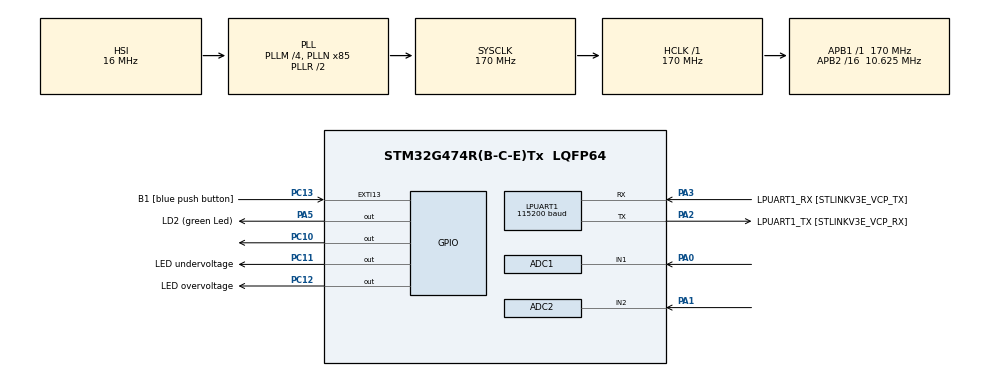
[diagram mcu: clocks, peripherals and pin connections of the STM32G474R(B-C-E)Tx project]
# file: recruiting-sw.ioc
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ADC1.Channel-0\#ChannelRegularConversion=ADC_CHANNEL_1
ADC1.NbrOfConversionFlag=1
ADC1.OffsetNumber-0\#ChannelRegularConversion=ADC_OFFSET_NONE
ADC1.Rank-0\#ChannelRegularConversion=1
ADC1.SamplingTime-0\#ChannelRegularConversion=ADC_SAMPLETIME_2CYCLES_5
ADC1.master=1
ADC2.Channel-1\#ChannelRegularConversion=ADC_CHANNEL_2
ADC2.NbrOfConversionFlag=1
ADC2.OffsetNumber-1\#ChannelRegularConversion=ADC_OFFSET_NONE
ADC2.Rank-1\#ChannelRegularConversion=1
ADC2.SamplingTime-1\#ChannelRegularConversion=ADC_SAMPLETIME_2CYCLES_5
LPUART1.BaudRate=115200
LPUART1.WordLength=UART_WORDLENGTH_8B
Mcu.Family=STM32G4
Mcu.Name=STM32G474R(B-C-E)Tx
Mcu.Package=LQFP64
NVIC.EXTI15_10_IRQn=true\:0\:0\:false\:false\:true\:true\:true\:true
NVIC.PriorityGroup=NVIC_PRIORITYGROUP_4
NVIC.TIM6_DAC_IRQn=true\:0\:0\:false\:false\:true\:true\:true\:true
PA0.Mode=IN1-Single-Ended
PA0.Signal=ADC1_IN1
PA1.Mode=IN2-Single-Ended
PA1.Signal=ADC2_IN2
PA13.GPIO_Label=T_SWDIO
PA13.Mode=Serial_Wire
PA13.Signal=SYS_JTMS-SWDIO
PA14.GPIO_Label=T_SWCLK
PA14.Mode=Serial_Wire
PA14.Signal=SYS_JTCK-SWCLK
PA2.GPIO_Label=LPUART1_TX [STLINKV3E_VCP_RX]
PA2.Mode=Asynchronous
PA2.Signal=LPUART1_TX
PA3.GPIO_Label=LPUART1_RX [STLINKV3E_VCP_TX]
PA3.Mode=Asynchronous
PA3.Signal=LPUART1_RX
PA5.GPIO_Label=LD2 (green Led)
PA5.PinState=GPIO_PIN_RESET
PA5.Signal=GPIO_Output
PB3.GPIO_Label=T_SWO
PB3.Signal=SYS_JTDO-SWO
PC10.Signal=GPIO_Output
PC11.GPIO_Label=LED undervoltage
PC11.Signal=GPIO_Output
PC12.GPIO_Label=LED overvoltage
PC12.Signal=GPIO_Output
PC13.GPIO_Label=B1 [blue push button]
PC13.Signal=GPXTI13
PC14-OSC32_IN.Mode=LSE-External-Oscillator
PC14-OSC32_IN.Signal=RCC_OSC32_IN
PC15-OSC32_OUT.Mode=LSE-External-Oscillator
PC15-OSC32_OUT.Signal=RCC_OSC32_OUT
PF0-OSC_IN.Mode=HSE-External-Oscillator
PF0-OSC_IN.Signal=RCC_OSC_IN
PF1-OSC_OUT.Mode=HSE-External-Oscillator
PF1-OSC_OUT.Signal=RCC_OSC_OUT
ProjectManager.HeapSize=0x200
ProjectManager.StackSize=0x400
ProjectManager.TargetToolchain=Makefile
RCC.ADC12Freq_Value=170000000
RCC.ADC345Freq_Value=170000000
RCC.AHBFreq_Value=170000000
RCC.APB1Freq_Value=170000000
RCC.APB1TimFreq_Value=170000000
RCC.APB2CLKDivider=RCC_HCLK_DIV16
RCC.APB2Freq_Value=10625000
RCC.APB2TimFreq_Value=21250000
RCC.CortexFreq_Value=170000000
RCC.EXTERNAL_CLOCK_VALUE=12288000
RCC.HCLKFreq_Value=170000000
RCC.HSE_VALUE=24000000
RCC.HSI48_VALUE=48000000
RCC.HSI_VALUE=16000000
RCC.PLLM=RCC_PLLM_DIV4
RCC.PLLN=85
RCC.RTCClockSelection=RCC_RTCCLKSOURCE_LSE
RCC.SYSCLKFreq_VALUE=170000000
RCC.SYSCLKSource=RCC_SYSCLKSOURCE_PLLCLK
RCC.USBFreq_Value=170000000
RCC.VCOOutputFreq_Value=340000000
TIM6.PeriodNoDither=8500-1
TIM6.Prescaler=1000-1
VP_SYS_VS_DBSignals.Mode=DisableDeadBatterySignals
VP_TIM6_VS_ClockSourceINT.Mode=Enable_Timer
board=NUCLEO-G474RE

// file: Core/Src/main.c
/* USER CODE BEGIN Header */
/**
  ******************************************************************************
  * @file           : main.c
  * @brief          : Main program body
  ******************************************************************************
  * @attention
  *
  * Copyright (c) 2022 STMicroelectronics.
  * All rights reserved.
  *
  * This software is licensed under terms that can be found in the LICENSE file
  * in the root directory of this software component.
  * If no LICENSE file comes with this software, it is provided AS-IS.
  *
  ******************************************************************************
  */
/* USER CODE END Header */
#include "main.h"

/* USER CODE BEGIN Includes */
#include <string.h>
#include <stdio.h>
/* USER CODE END Includes */

 ADC_HandleTypeDef hadc1;
ADC_HandleTypeDef hadc2;

UART_HandleTypeDef hlpuart1;

TIM_HandleTypeDef htim6;

/* USER CODE BEGIN PV */

int timer_lap = 0;
int flag_sensor = 0;
int flag_voltage = 0;
int flag_button = 0;
int flag_waiting_message = 0;
int flag_undervoltage = 0;
int flag_overvoltage = 0;

/* USER CODE END PV */

void SystemClock_Config(void);
static void MX_GPIO_Init(void);
static void MX_LPUART1_UART_Init(void);
static void MX_ADC1_Init(void);
static void MX_TIM6_Init(void);
static void MX_ADC2_Init(void);

/* USER CODE BEGIN 0 */
enum state_machine {
    INIT_STATE = 0U,
    RUNNING_STATE,
    READING_STATE,
    WAITING_STATE,
    DANGER_STATE,
    STATE_LENGTH
} state;

char* state_names[STATE_LENGTH];
// volatile uint8_t state;
/* USER CODE END 0 */

int main(void)
{
  /* USER CODE BEGIN 1 */

  state_names[INIT_STATE] = "INIT_STATE";
  state_names[READING_STATE] = "READING STATE";
  char state_msg [30];
  uint16_t raw;
  char msg[50];
  char msg_voltage[50];
  char danger_message[50];
  float raw_to_gauss;
  state = INIT_STATE;

  uint16_t raw_voltage;
  float raw_voltage_volt;

  // uint8_t waiting_message[100] = "(%lu)Board in waiting state - please press the emergency button\r\n";
  char waiting_message[100];

  /* USER CODE END 1 */

  /* MCU Configuration--------------------------------------------------------*/

  /* Reset of all peripherals, Initializes the Flash interface and the Systick. */
  HAL_Init();

  /* Configure the system clock */
  SystemClock_Config();

  /* Initialize all configured peripherals */
  MX_GPIO_Init();
  MX_LPUART1_UART_Init();
  MX_ADC1_Init();
  MX_TIM6_Init();
  MX_ADC2_Init();
  /* USER CODE BEGIN 2 */

  //Start timer
  HAL_TIM_Base_Start_IT(&htim6);

  /* USER CODE END 2 */

  /* Infinite loop */
  /* USER CODE BEGIN WHILE */
  while (1)
  {
    // HAL_GPIO_WritePin(GPIOC, GPIO_PIN_10, GPIO_PIN_SET);
    switch (state)
    {
    case READING_STATE:

      sprintf(state_msg,"\nState: %s \r\n", state_names[READING_STATE]);
      HAL_UART_Transmit(&hlpuart1, (uint8_t*)state_msg, strlen(state_msg), 10);

      //check if sensor is to be read
      if(flag_sensor == 1){

        HAL_ADC_Start(&hadc1);
        HAL_ADC_PollForConversion(&hadc1, 1);
        raw = HAL_ADC_GetValue(&hadc1);
        raw_to_gauss = (((raw * 3.3)/ 4095) - 1.60)*1000/1.6; //TODO: change sensibility according to alimentation
        HAL_ADC_Stop(&hadc1);

        // Convert to string and print
        sprintf(msg, "(%lu) Hall sensor:  %4.2f [GS]\r\n", HAL_GetTick()/10, raw_to_gauss);
        HAL_UART_Transmit(&hlpuart1, (uint8_t*)msg, strlen(msg), 10);
        flag_sensor = 0;
        }

      //check if voltage is to be read
      if(flag_voltage == 1){
        //read voltage
        HAL_ADC_Start(&hadc2);
        HAL_ADC_PollForConversion(&hadc2, 1);
        raw_voltage = HAL_ADC_GetValue(&hadc2);
        raw_voltage_volt = (raw_voltage * 3.3) / 4095; //convert to volt
        HAL_ADC_Stop(&hadc2);

        sprintf(msg_voltage, "(%lu) Voltage:  %.3f [V]\r\n", HAL_GetTick()/10, raw_voltage_volt);
        HAL_UART_Transmit(&hlpuart1, (uint8_t*)msg_voltage, strlen(msg_voltage), 10);

        if(raw_voltage_volt < 1.8){
          state = DANGER_STATE;
          flag_undervoltage = 1;
          HAL_GPIO_WritePin(GPIOC, GPIO_PIN_11, GPIO_PIN_SET); //enable undervoltage led
          HAL_GPIO_WritePin(GPIOC, GPIO_PIN_12, GPIO_PIN_RESET); //disable overvoltage led
          sprintf(danger_message, "DANGER STATE: undervoltage\r\n");
          HAL_UART_Transmit(&hlpuart1, (uint8_t*)danger_message, strlen(danger_message), 10);

        } else if (raw_voltage_volt > 2.2){
          state = DANGER_STATE;
          flag_overvoltage = 1;
          HAL_GPIO_WritePin(GPIOC, GPIO_PIN_12, GPIO_PIN_SET); //enable overvoltage led
          HAL_GPIO_WritePin(GPIOC, GPIO_PIN_11, GPIO_PIN_RESET); //disable undervoltage led
          sprintf(danger_message, "DANGER STATE: overvoltage\r\n");
          HAL_UART_Transmit(&hlpuart1, (uint8_t*)danger_message, strlen(danger_message), 10);

        } else {
          flag_undervoltage = 0;
          flag_overvoltage = 0;
          HAL_GPIO_WritePin(GPIOC, GPIO_PIN_11, GPIO_PIN_RESET); //disable undervoltage led
          HAL_GPIO_WritePin(GPIOC, GPIO_PIN_12, GPIO_PIN_RESET); //disable overvoltage led
        }
        flag_voltage = 0;
      }

      state = RUNNING_STATE;

      break;

    case RUNNING_STATE:
      // sprintf(state_msg,"\nState: %s \r\n", state_names[RUNNING_STATE]);
      // HAL_UART_Transmit(&hlpuart1, (uint8_t*)state_msg, strlen(state_msg), 10);
      break;

    case WAITING_STATE:
      if(flag_waiting_message == 1){
        sprintf(waiting_message, "(%lu)Board in waiting state - please press the emergency button\r\n", HAL_GetTick()/100);
        HAL_UART_Transmit(&hlpuart1, (uint8_t*)waiting_message, strlen(waiting_message), 10);
        flag_waiting_message = 0;
      }

      break;

    case DANGER_STATE:
        if (flag_undervoltage){
          sprintf(danger_message, "DANGER STATE: undervoltage\r\n"); //TODO: controllare che funzioni
        } else if (flag_overvoltage){
          sprintf(danger_message, "DANGER STATE: overvoltage\r\n"); //TODO: controllare che funzioni
        }
        HAL_UART_Transmit(&hlpuart1, (uint8_t*)danger_message, strlen(danger_message), 10);
      break;

    default:
      break;
    }

    /* USER CODE END WHILE */

    /* USER CODE BEGIN 3 */

    /* USER CODE END WHILE */

    /* USER CODE BEGIN 3 */
  }
  /* USER CODE END 3 */
}

void SystemClock_Config(void)
{
  RCC_OscInitTypeDef RCC_OscInitStruct = {0};
  RCC_ClkInitTypeDef RCC_ClkInitStruct = {0};

  /** Configure the main internal regulator output voltage
  */
  HAL_PWREx_ControlVoltageScaling(PWR_REGULATOR_VOLTAGE_SCALE1_BOOST);

  /** Initializes the RCC Oscillators according to the specified parameters
  * in the RCC_OscInitTypeDef structure.
  */
  RCC_OscInitStruct.OscillatorType = RCC_OSCILLATORTYPE_HSI;
  RCC_OscInitStruct.HSIState = RCC_HSI_ON;
  RCC_OscInitStruct.HSICalibrationValue = RCC_HSICALIBRATION_DEFAULT;
  RCC_OscInitStruct.PLL.PLLState = RCC_PLL_ON;
  RCC_OscInitStruct.PLL.PLLSource = RCC_PLLSOURCE_HSI;
  RCC_OscInitStruct.PLL.PLLM = RCC_PLLM_DIV4;
  RCC_OscInitStruct.PLL.PLLN = 85;
  RCC_OscInitStruct.PLL.PLLP = RCC_PLLP_DIV2;
  RCC_OscInitStruct.PLL.PLLQ = RCC_PLLQ_DIV2;
  RCC_OscInitStruct.PLL.PLLR = RCC_PLLR_DIV2;
  if (HAL_RCC_OscConfig(&RCC_OscInitStruct) != HAL_OK)
  {
    Error_Handler();
  }

  /** Initializes the CPU, AHB and APB buses clocks
  */
  RCC_ClkInitStruct.ClockType = RCC_CLOCKTYPE_HCLK|RCC_CLOCKTYPE_SYSCLK
                              |RCC_CLOCKTYPE_PCLK1|RCC_CLOCKTYPE_PCLK2;
  RCC_ClkInitStruct.SYSCLKSource = RCC_SYSCLKSOURCE_PLLCLK;
  RCC_ClkInitStruct.AHBCLKDivider = RCC_SYSCLK_DIV1;
  RCC_ClkInitStruct.APB1CLKDivider = RCC_HCLK_DIV1;
  RCC_ClkInitStruct.APB2CLKDivider = RCC_HCLK_DIV16;

  if (HAL_RCC_ClockConfig(&RCC_ClkInitStruct, FLASH_LATENCY_4) != HAL_OK)
  {
    Error_Handler();
  }
}

static void MX_ADC1_Init(void)
{

  ADC_MultiModeTypeDef multimode = {0};
  ADC_ChannelConfTypeDef sConfig = {0};

  /** Common config
  */
  hadc1.Instance = ADC1;
  hadc1.Init.ClockPrescaler = ADC_CLOCK_SYNC_PCLK_DIV4;
  hadc1.Init.Resolution = ADC_RESOLUTION_12B;
  hadc1.Init.DataAlign = ADC_DATAALIGN_RIGHT;
  hadc1.Init.GainCompensation = 0;
  hadc1.Init.ScanConvMode = ADC_SCAN_DISABLE;
  hadc1.Init.EOCSelection = ADC_EOC_SINGLE_CONV;
  hadc1.Init.LowPowerAutoWait = DISABLE;
  hadc1.Init.ContinuousConvMode = DISABLE;
  hadc1.Init.NbrOfConversion = 1;
  hadc1.Init.DiscontinuousConvMode = DISABLE;
  hadc1.Init.ExternalTrigConv = ADC_SOFTWARE_START;
  hadc1.Init.ExternalTrigConvEdge = ADC_EXTERNALTRIGCONVEDGE_NONE;
  hadc1.Init.DMAContinuousRequests = DISABLE;
  hadc1.Init.Overrun = ADC_OVR_DATA_PRESERVED;
  hadc1.Init.OversamplingMode = DISABLE;
  if (HAL_ADC_Init(&hadc1) != HAL_OK)
  {
    Error_Handler();
  }

  /** Configure the ADC multi-mode
  */
  multimode.Mode = ADC_MODE_INDEPENDENT;
  if (HAL_ADCEx_MultiModeConfigChannel(&hadc1, &multimode) != HAL_OK)
  {
    Error_Handler();
  }

  /** Configure Regular Channel
  */
  sConfig.Channel = ADC_CHANNEL_1;
  sConfig.Rank = ADC_REGULAR_RANK_1;
  sConfig.SamplingTime = ADC_SAMPLETIME_2CYCLES_5;
  sConfig.SingleDiff = ADC_SINGLE_ENDED;
  sConfig.OffsetNumber = ADC_OFFSET_NONE;
  sConfig.Offset = 0;
  if (HAL_ADC_ConfigChannel(&hadc1, &sConfig) != HAL_OK)
  {
    Error_Handler();
  }

}

static void MX_ADC2_Init(void)
{

  ADC_ChannelConfTypeDef sConfig = {0};

  /** Common config
  */
  hadc2.Instance = ADC2;
  hadc2.Init.ClockPrescaler = ADC_CLOCK_SYNC_PCLK_DIV4;
  hadc2.Init.Resolution = ADC_RESOLUTION_12B;
  hadc2.Init.DataAlign = ADC_DATAALIGN_RIGHT;
  hadc2.Init.GainCompensation = 0;
  hadc2.Init.ScanConvMode = ADC_SCAN_DISABLE;
  hadc2.Init.EOCSelection = ADC_EOC_SINGLE_CONV;
  hadc2.Init.LowPowerAutoWait = DISABLE;
  hadc2.Init.ContinuousConvMode = DISABLE;
  hadc2.Init.NbrOfConversion = 1;
  hadc2.Init.DiscontinuousConvMode = DISABLE;
  hadc2.Init.ExternalTrigConv = ADC_SOFTWARE_START;
  hadc2.Init.ExternalTrigConvEdge = ADC_EXTERNALTRIGCONVEDGE_NONE;
  hadc2.Init.DMAContinuousRequests = DISABLE;
  hadc2.Init.Overrun = ADC_OVR_DATA_PRESERVED;
  hadc2.Init.OversamplingMode = DISABLE;
  if (HAL_ADC_Init(&hadc2) != HAL_OK)
  {
    Error_Handler();
  }

  /** Configure Regular Channel
  */
  sConfig.Channel = ADC_CHANNEL_2;
  sConfig.Rank = ADC_REGULAR_RANK_1;
  sConfig.SamplingTime = ADC_SAMPLETIME_2CYCLES_5;
  sConfig.SingleDiff = ADC_SINGLE_ENDED;
  sConfig.OffsetNumber = ADC_OFFSET_NONE;
  sConfig.Offset = 0;
  if (HAL_ADC_ConfigChannel(&hadc2, &sConfig) != HAL_OK)
  {
    Error_Handler();
  }

}

static void MX_LPUART1_UART_Init(void)
{

  hlpuart1.Instance = LPUART1;
  hlpuart1.Init.BaudRate = 115200;
  hlpuart1.Init.WordLength = UART_WORDLENGTH_8B;
  hlpuart1.Init.StopBits = UART_STOPBITS_1;
  hlpuart1.Init.Parity = UART_PARITY_NONE;
  hlpuart1.Init.Mode = UART_MODE_TX_RX;
  hlpuart1.Init.HwFlowCtl = UART_HWCONTROL_NONE;
  hlpuart1.Init.OneBitSampling = UART_ONE_BIT_SAMPLE_DISABLE;
  hlpuart1.Init.ClockPrescaler = UART_PRESCALER_DIV1;
  hlpuart1.AdvancedInit.AdvFeatureInit = UART_ADVFEATURE_NO_INIT;
  if (HAL_UART_Init(&hlpuart1) != HAL_OK)
  {
    Error_Handler();
  }
  if (HAL_UARTEx_SetTxFifoThreshold(&hlpuart1, UART_TXFIFO_THRESHOLD_1_8) != HAL_OK)
  {
    Error_Handler();
  }
  if (HAL_UARTEx_SetRxFifoThreshold(&hlpuart1, UART_RXFIFO_THRESHOLD_1_8) != HAL_OK)
  {
    Error_Handler();
  }
  if (HAL_UARTEx_DisableFifoMode(&hlpuart1) != HAL_OK)
  {
    Error_Handler();
  }

}

static void MX_TIM6_Init(void)
{

  TIM_MasterConfigTypeDef sMasterConfig = {0};

  htim6.Instance = TIM6;
  htim6.Init.Prescaler = 1000-1;
  htim6.Init.CounterMode = TIM_COUNTERMODE_UP;
  htim6.Init.Period = 8499;
  htim6.Init.AutoReloadPreload = TIM_AUTORELOAD_PRELOAD_DISABLE;
  if (HAL_TIM_Base_Init(&htim6) != HAL_OK)
  {
    Error_Handler();
  }
  sMasterConfig.MasterOutputTrigger = TIM_TRGO_RESET;
  sMasterConfig.MasterSlaveMode = TIM_MASTERSLAVEMODE_DISABLE;
  if (HAL_TIMEx_MasterConfigSynchronization(&htim6, &sMasterConfig) != HAL_OK)
  {
    Error_Handler();
  }

}

static void MX_GPIO_Init(void)
{
  GPIO_InitTypeDef GPIO_InitStruct = {0};

  /* GPIO Ports Clock Enable */
  __HAL_RCC_GPIOC_CLK_ENABLE();
  __HAL_RCC_GPIOF_CLK_ENABLE();
  __HAL_RCC_GPIOA_CLK_ENABLE();
  __HAL_RCC_GPIOB_CLK_ENABLE();

  /*Configure GPIO pin Output Level */
  HAL_GPIO_WritePin(LD2_GPIO_Port, LD2_Pin, GPIO_PIN_RESET);

  /*Configure GPIO pin Output Level */
  HAL_GPIO_WritePin(GPIOC, GPIO_PIN_10|LED_undervoltage_Pin|LED_overvoltage_Pin, GPIO_PIN_RESET);

  /*Configure GPIO pin : B1_Pin */
  GPIO_InitStruct.Pin = B1_Pin;
  GPIO_InitStruct.Mode = GPIO_MODE_IT_RISING;
  GPIO_InitStruct.Pull = GPIO_NOPULL;
  HAL_GPIO_Init(B1_GPIO_Port, &GPIO_InitStruct);

  /*Configure GPIO pin : LD2_Pin */
  GPIO_InitStruct.Pin = LD2_Pin;
  GPIO_InitStruct.Mode = GPIO_MODE_OUTPUT_PP;
  GPIO_InitStruct.Pull = GPIO_NOPULL;
  GPIO_InitStruct.Speed = GPIO_SPEED_FREQ_LOW;
  HAL_GPIO_Init(LD2_GPIO_Port, &GPIO_InitStruct);

  /*Configure GPIO pins : PC10 LED_undervoltage_Pin LED_overvoltage_Pin */
  GPIO_InitStruct.Pin = GPIO_PIN_10|LED_undervoltage_Pin|LED_overvoltage_Pin;
  GPIO_InitStruct.Mode = GPIO_MODE_OUTPUT_PP;
  GPIO_InitStruct.Pull = GPIO_NOPULL;
  GPIO_InitStruct.Speed = GPIO_SPEED_FREQ_LOW;
  HAL_GPIO_Init(GPIOC, &GPIO_InitStruct);

  /* EXTI interrupt init*/
  HAL_NVIC_SetPriority(EXTI15_10_IRQn, 0, 0);
  HAL_NVIC_EnableIRQ(EXTI15_10_IRQn);

}

/* USER CODE BEGIN 4 */

//function that is called every 50 ms
void HAL_TIM_PeriodElapsedCallback(TIM_HandleTypeDef *htim)
{
  //toggle a pin for checking if the timer works
  // HAL_GPIO_TogglePin(GPIOC, GPIO_PIN_10);
  if (htim->Instance == TIM6){

    if (((timer_lap % 4) == 0) && flag_button == 0 && (timer_lap != 0) ){ //&& (flag_undervoltage || flag_overvoltage)
      flag_sensor = 1; //flag for checking the sensor
      state = READING_STATE;
    }
    if (((timer_lap % 7) == 0) && flag_button == 0 && (timer_lap != 0) ){ //&& (flag_undervoltage || flag_overvoltage)
      flag_voltage = 1; //flag for checking the voltage
      state = READING_STATE;
    }
    if (flag_button == 1 && ((timer_lap % 10) == 0)){
      flag_waiting_message = 1; //flag for sending the waiting message
    }
    timer_lap += 1;
  }
}

//button interrupt
void HAL_GPIO_EXTI_Callback(uint16_t GPIO_Pin){
    if(GPIO_Pin == GPIO_PIN_13) {
      HAL_GPIO_TogglePin(GPIOA, GPIO_PIN_5);
      flag_button = !flag_button;
      timer_lap = 0;
      state = flag_button ? WAITING_STATE : RUNNING_STATE;
    }
}

/* USER CODE END 4 */

void Error_Handler(void)
{
  __disable_irq();
  while (1)
  {
  }
}
